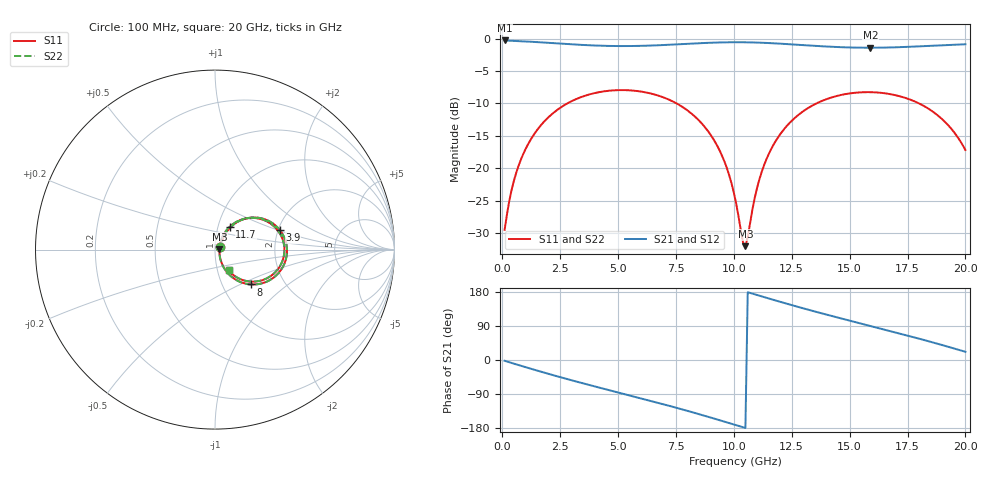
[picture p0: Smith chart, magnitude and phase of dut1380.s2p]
! Touchstone file exported from HFSS 2026.1.0
!  File:  C:/ffzhzh/LocalFiles/Ansys_Project_Files/temp_train_TSV_RDL_1380_1783347853_37376.aedt
!  Generated:  10:40:41 PM Jul  6, 2026
!  Design:  TSV_RDL
!  Project:  temp_train_TSV_RDL_1380_1783347853_37376
! Variables:
!  h_bsmrdl = 2.16um
!  h_ox = 20um
!  h_rdl = 5um
!  h_sub = 54.8um
!  h_tmrdl = 3.8um
!  h_tsv = 54.8um
!  h_via = 3um
!  l_bsmrdl = 554.21um
!  l_sub = 6056.77um
!  l_tmrdl = 965.28um
!  m_sub = 200um
!  pitch = 37.42um
!  r_tsv = 8.61um
!  s_tmrdl = 10um
!  w_bsmrdl = 21.53um
!  w_sub = 500um
!  w_tmrdl = 22.81um
!  x_tsv_center1 = 976.685um
!  x_tsv_center2 = 1552.425um
!  x_tsv_center3 = 2540.515um
!  x_tsv_center4 = 3116.255um
!  x_tsv_center5 = 4104.345um
!  x_tsv_center6 = 4680.085um
# GHz S MA R 50.000000
! Terminal data exported
! Port[1] = TM_RDL1_1_T1
! Port[2] = TM_RDL5_1_T1
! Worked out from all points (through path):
!   200 points, 100 MHz to 20 GHz, reference 50 ohm
!   highest |S21| = -0.26 dB at 100 MHz (marker M1); lowest = -1.4 dB at 15.9 GHz (marker M2)
!   group delay of S21, straight-line fit = 46.8 ps
!   lowest |S11| = -32.1 dB at 10.5 GHz (marker M3), VSWR 1.05, Z = 52.6 + j0.219 ohm
!   |S11| at or under -10 dB: start of sweep to 2.802 GHz; 7.531 GHz to 13.56 GHz (6.031 GHz wide, 57.2 % of centre); 18 GHz to end of sweep
!   |S22| runs from -32.4 to -7.9 dB; largest |S21 - S12| = 1.7e-14
!   S11 on the Smith chart (normalised r, x): 100 MHz: 1.06, +0.03; 3.9 GHz: 2.04, +0.52; 8 GHz: 1.36, -0.57; 11.7 GHz: 1.14, +0.29; 20 GHz: 1.13, -0.27
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0.1  0.03337 26.7  0.9706 -2.0  0.9706 -2.0  0.03337 26.7
! Gamma 0 0 0 0
! Port Impedance 50 0 50 0
0.5  0.07976 54.8  0.963 -9.6  0.963 -9.6  0.07976 54.8
1.2  0.1633 54.3  0.9494 -22.4  0.9494 -22.4  0.1633 54.3
2.2  0.2669 41.8  0.9256 -40.1  0.9256 -40.1  0.2669 41.8
3.5  0.3593 22.8  0.8955 -61.8  0.8955 -61.8  0.3594 22.8
3.9  0.3772 16.9  0.8886 -68.2  0.8886 -68.2  0.3772 16.9
5.4  0.4005 -5.1  0.8785 -91.9  0.8785 -91.9  0.4005 -5.2
6.8  0.3608 -25.9  0.892 -114.2  0.892 -114.2  0.3607 -26.0
8  0.2793 -44.0  0.9144 -134.3  0.9144 -134.3  0.2793 -44.1
9.3  0.1469 -61.5  0.9358 -157.3  0.9358 -157.3  0.1468 -61.8
9.8  0.0882 -63.7  0.9398 -166.4  0.9398 -166.4  0.08796 -64.3
10.1  0.05337 -57.7  0.9405 -171.9  0.9405 -171.9  0.05296 -58.5
10.4  0.02652 -21.6  0.9399 -177.5  0.9399 -177.5  0.02564 -22.3
10.5  0.02497 4.8  0.9394 -179.3  0.9394 -179.3  0.02402 5.1
11.1  0.08163 59.3  0.9336 169.7  0.9336 169.7  0.08133 60.0
11.7  0.1503 57.1  0.9233 158.9  0.9233 158.9  0.1502 57.5
13.4  0.3055 34.0  0.8839 129.6  0.8839 129.6  0.3055 34.2
14.6  0.367 16.5  0.8615 110.2  0.8615 110.2  0.3669 16.7
15.9  0.3867 -2.2  0.8527 89.9  0.8527 89.9  0.3867 -2.0
16.7  0.3749 -13.7  0.8564 77.3  0.8564 77.3  0.3749 -13.5
18.6  0.2731 -40.9  0.8851 46.3  0.8851 46.3  0.2731 -40.8
20  0.1382 -56.9  0.907 21.7  0.907 21.7  0.1382 -56.7
